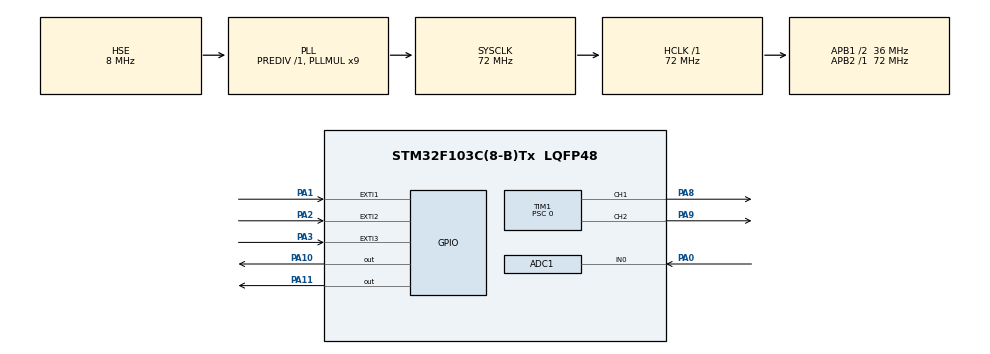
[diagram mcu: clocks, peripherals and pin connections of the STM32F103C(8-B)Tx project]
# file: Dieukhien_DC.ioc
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ADC1.Channel-0\#ChannelRegularConversion=ADC_CHANNEL_0
ADC1.NbrOfConversionFlag=1
ADC1.Rank-0\#ChannelRegularConversion=1
ADC1.SamplingTime-0\#ChannelRegularConversion=ADC_SAMPLETIME_1CYCLE_5
ADC1.master=1
Mcu.Family=STM32F1
Mcu.Name=STM32F103C(8-B)Tx
Mcu.Package=LQFP48
NVIC.EXTI1_IRQn=true\:1\:0\:true\:false\:true\:true\:true
NVIC.EXTI2_IRQn=true\:1\:0\:true\:false\:true\:true\:true
NVIC.EXTI3_IRQn=true\:1\:0\:true\:false\:true\:true\:true
NVIC.PriorityGroup=NVIC_PRIORITYGROUP_4
PA0-WKUP.Signal=ADCx_IN0
PA1.GPIO_ModeDefaultEXTI=GPIO_MODE_IT_FALLING
PA1.GPIO_PuPd=GPIO_PULLUP
PA1.Signal=GPXTI1
PA10.Signal=GPIO_Output
PA11.Signal=GPIO_Output
PA13.Mode=Serial_Wire
PA13.Signal=SYS_JTMS-SWDIO
PA14.Mode=Serial_Wire
PA14.Signal=SYS_JTCK-SWCLK
PA2.GPIO_ModeDefaultEXTI=GPIO_MODE_IT_FALLING
PA2.GPIO_PuPd=GPIO_PULLUP
PA2.Signal=GPXTI2
PA3.GPIO_ModeDefaultEXTI=GPIO_MODE_IT_FALLING
PA3.GPIO_PuPd=GPIO_PULLUP
PA3.Signal=GPXTI3
PA8.Signal=S_TIM1_CH1
PA9.Signal=S_TIM1_CH2
PD0-OSC_IN.Mode=HSE-External-Oscillator
PD0-OSC_IN.Signal=RCC_OSC_IN
PD1-OSC_OUT.Mode=HSE-External-Oscillator
PD1-OSC_OUT.Signal=RCC_OSC_OUT
ProjectManager.HeapSize=0x200
ProjectManager.StackSize=0x400
ProjectManager.TargetToolchain=MDK-ARM V5.27
RCC.ADCPresc=RCC_ADCPCLK2_DIV6
RCC.AHBFreq_Value=72000000
RCC.APB1CLKDivider=RCC_HCLK_DIV2
RCC.APB1Freq_Value=36000000
RCC.APB1TimFreq_Value=72000000
RCC.APB2Freq_Value=72000000
RCC.APB2TimFreq_Value=72000000
RCC.HCLKFreq_Value=72000000
RCC.PLLMUL=RCC_PLL_MUL9
RCC.PLLSourceVirtual=RCC_PLLSOURCE_HSE
RCC.SYSCLKFreq_VALUE=72000000
RCC.SYSCLKSource=RCC_SYSCLKSOURCE_PLLCLK
RCC.USBFreq_Value=72000000
SH.ADCx_IN0.0=ADC1_IN0,IN0
SH.S_TIM1_CH1.0=TIM1_CH1,PWM Generation1 CH1
SH.S_TIM1_CH2.0=TIM1_CH2,PWM Generation2 CH2
TIM1.Channel-PWM\ Generation1\ CH1=TIM_CHANNEL_1
TIM1.Channel-PWM\ Generation2\ CH2=TIM_CHANNEL_2
TIM1.OCMode_PWM-PWM\ Generation1\ CH1=TIM_OCMODE_PWM1
TIM1.OCMode_PWM-PWM\ Generation2\ CH2=TIM_OCMODE_PWM1
TIM1.Period=9999
TIM1.Prescaler=0
VP_TIM1_VS_ClockSourceINT.Mode=Internal
board=custom

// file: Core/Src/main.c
/* USER CODE BEGIN Header */
/**
  ******************************************************************************
  * @file           : main.c
  * @brief          : Main program body
  ******************************************************************************
  * @attention
  *
  * <h2><center>&copy; Copyright (c) 2022 STMicroelectronics.
  * All rights reserved.</center></h2>
  *
  * This software component is licensed by ST under BSD 3-Clause license,
  * the "License"; You may not use this file except in compliance with the
  * License. You may obtain a copy of the License at:
  *                        opensource.org/licenses/BSD-3-Clause
  *
  ******************************************************************************
  */
/* USER CODE END Header */
#include "main.h"

/* USER CODE BEGIN Includes */
uint16_t z = 0, y = 0;
uint16_t ispress1 = 1, ispress2, ispress3;
/* USER CODE END Includes */

ADC_HandleTypeDef hadc1;

TIM_HandleTypeDef htim1;

/* USER CODE BEGIN PV */

long map(long x, long in_min, long in_max, long out_min, long out_max) {  // ADC -> ARR -> PWM
  return (x - in_min) * (out_max - out_min) / (in_max - in_min) + out_min;
}

uint16_t Tocdo() // dung chiet ap dieu khien toc do dong co
{
	  HAL_ADC_Start(&hadc1);
		HAL_ADC_PollForConversion(&hadc1,100);
		z = HAL_ADC_GetValue(&hadc1);
		y = map(z, 0, 4034, 0, 9999);
		return y;
}

void Thuan()
{
	__HAL_TIM_SetCompare(&htim1, TIM_CHANNEL_1, Tocdo());
	HAL_GPIO_WritePin(GPIOA, GPIO_PIN_10, GPIO_PIN_RESET);
	__HAL_TIM_SetCompare(&htim1, TIM_CHANNEL_2, Tocdo());
	HAL_GPIO_WritePin(GPIOA, GPIO_PIN_11, GPIO_PIN_RESET);
}

void Nghich()
{
	__HAL_TIM_SetCompare(&htim1, TIM_CHANNEL_1, Tocdo());
	HAL_GPIO_WritePin(GPIOA, GPIO_PIN_10, GPIO_PIN_SET);
	__HAL_TIM_SetCompare(&htim1, TIM_CHANNEL_2, Tocdo());
	HAL_GPIO_WritePin(GPIOA, GPIO_PIN_11, GPIO_PIN_SET);
}

void Dung()
{
	__HAL_TIM_SetCompare(&htim1, TIM_CHANNEL_1, 0);
	HAL_GPIO_WritePin(GPIOA, GPIO_PIN_10, GPIO_PIN_RESET);
	__HAL_TIM_SetCompare(&htim1, TIM_CHANNEL_2, 0);
	HAL_GPIO_WritePin(GPIOA, GPIO_PIN_11, GPIO_PIN_RESET);
}

void HAL_GPIO_EXTI_Callback(uint16_t GPIO_Pin)
{
	if(GPIO_Pin == GPIO_PIN_1)
	{
		ispress1++;
	}
//	if(GPIO_Pin == GPIO_PIN_2)
//	{
//		ispress1 = 2;
//	}
//	if(GPIO_Pin == GPIO_PIN_3)
//	{
//		ispress1 = 3;
//	}
	if(ispress1 >= 4)
	{
		ispress1 = 1;
	}
}

//void LED1()
//{
//	if(ispress == 0)
//	{
//		__HAL_TIM_SetCompare(&htim1, TIM_CHANNEL_1, Tocdo());
//		HAL_GPIO_WritePin(GPIOA, GPIO_PIN_10, GPIO_PIN_RESET);
//	}
//
//	if(ispress == 1)
//	{
//		__HAL_TIM_SetCompare(&htim1, TIM_CHANNEL_1, 0);
//		HAL_GPIO_WritePin(GPIOA, GPIO_PIN_10, GPIO_PIN_RESET);
//	}
//
//	if(ispress == 2)
//	{
//		__HAL_TIM_SetCompare(&htim1, TIM_CHANNEL_1, Tocdo());
//		HAL_GPIO_WritePin(GPIOA, GPIO_PIN_10, GPIO_PIN_SET);
//	}
//}

//void LED2()
//{
//	if(ispress == 0)
//	{
//		__HAL_TIM_SetCompare(&htim1, TIM_CHANNEL_2, Tocdo());
//		HAL_GPIO_WritePin(GPIOA, GPIO_PIN_11, GPIO_PIN_RESET);
//	}
//
//	if(ispress == 1)
//	{
//		__HAL_TIM_SetCompare(&htim1, TIM_CHANNEL_2, 0);
//		HAL_GPIO_WritePin(GPIOA, GPIO_PIN_11, GPIO_PIN_RESET);
//	}
//
//	if(ispress == 2)
//	{
//		__HAL_TIM_SetCompare(&htim1, TIM_CHANNEL_2, Tocdo());
//		HAL_GPIO_WritePin(GPIOA, GPIO_PIN_11, GPIO_PIN_SET);
//	}
//}

/* USER CODE END PV */

void SystemClock_Config(void);
static void MX_GPIO_Init(void);
static void MX_ADC1_Init(void);
static void MX_TIM1_Init(void);

int main(void)
{

  /* MCU Configuration--------------------------------------------------------*/

  /* Reset of all peripherals, Initializes the Flash interface and the Systick. */
  HAL_Init();

  /* Configure the system clock */
  SystemClock_Config();

  /* Initialize all configured peripherals */
  MX_GPIO_Init();
  MX_ADC1_Init();
  MX_TIM1_Init();
  /* USER CODE BEGIN 2 */
   HAL_TIM_PWM_Start(&htim1,TIM_CHANNEL_1);
	 HAL_TIM_PWM_Start(&htim1,TIM_CHANNEL_2);
  /* USER CODE END 2 */

  /* Infinite loop */
  while (1)
  {
		if(ispress1 == 1)
		{
			Thuan();
		}
		if(ispress1 == 2)
		{
			Dung();
		}
		if(ispress1 == 3)
		{
			Nghich();
		}
  }
}

void SystemClock_Config(void)
{
  RCC_OscInitTypeDef RCC_OscInitStruct = {0};
  RCC_ClkInitTypeDef RCC_ClkInitStruct = {0};
  RCC_PeriphCLKInitTypeDef PeriphClkInit = {0};

  /** Initializes the RCC Oscillators according to the specified parameters
  * in the RCC_OscInitTypeDef structure.
  */
  RCC_OscInitStruct.OscillatorType = RCC_OSCILLATORTYPE_HSE;
  RCC_OscInitStruct.HSEState = RCC_HSE_ON;
  RCC_OscInitStruct.HSEPredivValue = RCC_HSE_PREDIV_DIV1;
  RCC_OscInitStruct.HSIState = RCC_HSI_ON;
  RCC_OscInitStruct.PLL.PLLState = RCC_PLL_ON;
  RCC_OscInitStruct.PLL.PLLSource = RCC_PLLSOURCE_HSE;
  RCC_OscInitStruct.PLL.PLLMUL = RCC_PLL_MUL9;
  if (HAL_RCC_OscConfig(&RCC_OscInitStruct) != HAL_OK)
  {
    Error_Handler();
  }
  /** Initializes the CPU, AHB and APB buses clocks
  */
  RCC_ClkInitStruct.ClockType = RCC_CLOCKTYPE_HCLK|RCC_CLOCKTYPE_SYSCLK
                              |RCC_CLOCKTYPE_PCLK1|RCC_CLOCKTYPE_PCLK2;
  RCC_ClkInitStruct.SYSCLKSource = RCC_SYSCLKSOURCE_PLLCLK;
  RCC_ClkInitStruct.AHBCLKDivider = RCC_SYSCLK_DIV1;
  RCC_ClkInitStruct.APB1CLKDivider = RCC_HCLK_DIV2;
  RCC_ClkInitStruct.APB2CLKDivider = RCC_HCLK_DIV1;

  if (HAL_RCC_ClockConfig(&RCC_ClkInitStruct, FLASH_LATENCY_2) != HAL_OK)
  {
    Error_Handler();
  }
  PeriphClkInit.PeriphClockSelection = RCC_PERIPHCLK_ADC;
  PeriphClkInit.AdcClockSelection = RCC_ADCPCLK2_DIV6;
  if (HAL_RCCEx_PeriphCLKConfig(&PeriphClkInit) != HAL_OK)
  {
    Error_Handler();
  }
}

static void MX_ADC1_Init(void)
{

  ADC_ChannelConfTypeDef sConfig = {0};

  /** Common config
  */
  hadc1.Instance = ADC1;
  hadc1.Init.ScanConvMode = ADC_SCAN_DISABLE;
  hadc1.Init.ContinuousConvMode = DISABLE;
  hadc1.Init.DiscontinuousConvMode = DISABLE;
  hadc1.Init.ExternalTrigConv = ADC_SOFTWARE_START;
  hadc1.Init.DataAlign = ADC_DATAALIGN_RIGHT;
  hadc1.Init.NbrOfConversion = 1;
  if (HAL_ADC_Init(&hadc1) != HAL_OK)
  {
    Error_Handler();
  }
  /** Configure Regular Channel
  */
  sConfig.Channel = ADC_CHANNEL_0;
  sConfig.Rank = ADC_REGULAR_RANK_1;
  sConfig.SamplingTime = ADC_SAMPLETIME_1CYCLE_5;
  if (HAL_ADC_ConfigChannel(&hadc1, &sConfig) != HAL_OK)
  {
    Error_Handler();
  }

}

static void MX_TIM1_Init(void)
{

  TIM_ClockConfigTypeDef sClockSourceConfig = {0};
  TIM_MasterConfigTypeDef sMasterConfig = {0};
  TIM_OC_InitTypeDef sConfigOC = {0};
  TIM_BreakDeadTimeConfigTypeDef sBreakDeadTimeConfig = {0};

  htim1.Instance = TIM1;
  htim1.Init.Prescaler = 0;
  htim1.Init.CounterMode = TIM_COUNTERMODE_UP;
  htim1.Init.Period = 9999;
  htim1.Init.ClockDivision = TIM_CLOCKDIVISION_DIV1;
  htim1.Init.RepetitionCounter = 0;
  htim1.Init.AutoReloadPreload = TIM_AUTORELOAD_PRELOAD_DISABLE;
  if (HAL_TIM_Base_Init(&htim1) != HAL_OK)
  {
    Error_Handler();
  }
  sClockSourceConfig.ClockSource = TIM_CLOCKSOURCE_INTERNAL;
  if (HAL_TIM_ConfigClockSource(&htim1, &sClockSourceConfig) != HAL_OK)
  {
    Error_Handler();
  }
  if (HAL_TIM_PWM_Init(&htim1) != HAL_OK)
  {
    Error_Handler();
  }
  sMasterConfig.MasterOutputTrigger = TIM_TRGO_RESET;
  sMasterConfig.MasterSlaveMode = TIM_MASTERSLAVEMODE_DISABLE;
  if (HAL_TIMEx_MasterConfigSynchronization(&htim1, &sMasterConfig) != HAL_OK)
  {
    Error_Handler();
  }
  sConfigOC.OCMode = TIM_OCMODE_PWM1;
  sConfigOC.Pulse = 0;
  sConfigOC.OCPolarity = TIM_OCPOLARITY_HIGH;
  sConfigOC.OCNPolarity = TIM_OCNPOLARITY_HIGH;
  sConfigOC.OCFastMode = TIM_OCFAST_DISABLE;
  sConfigOC.OCIdleState = TIM_OCIDLESTATE_RESET;
  sConfigOC.OCNIdleState = TIM_OCNIDLESTATE_RESET;
  if (HAL_TIM_PWM_ConfigChannel(&htim1, &sConfigOC, TIM_CHANNEL_1) != HAL_OK)
  {
    Error_Handler();
  }
  if (HAL_TIM_PWM_ConfigChannel(&htim1, &sConfigOC, TIM_CHANNEL_2) != HAL_OK)
  {
    Error_Handler();
  }
  sBreakDeadTimeConfig.OffStateRunMode = TIM_OSSR_DISABLE;
  sBreakDeadTimeConfig.OffStateIDLEMode = TIM_OSSI_DISABLE;
  sBreakDeadTimeConfig.LockLevel = TIM_LOCKLEVEL_OFF;
  sBreakDeadTimeConfig.DeadTime = 0;
  sBreakDeadTimeConfig.BreakState = TIM_BREAK_DISABLE;
  sBreakDeadTimeConfig.BreakPolarity = TIM_BREAKPOLARITY_HIGH;
  sBreakDeadTimeConfig.AutomaticOutput = TIM_AUTOMATICOUTPUT_DISABLE;
  if (HAL_TIMEx_ConfigBreakDeadTime(&htim1, &sBreakDeadTimeConfig) != HAL_OK)
  {
    Error_Handler();
  }
  HAL_TIM_MspPostInit(&htim1);

}

static void MX_GPIO_Init(void)
{
  GPIO_InitTypeDef GPIO_InitStruct = {0};

  /* GPIO Ports Clock Enable */
  __HAL_RCC_GPIOD_CLK_ENABLE();
  __HAL_RCC_GPIOA_CLK_ENABLE();

  /*Configure GPIO pin Output Level */
  HAL_GPIO_WritePin(GPIOA, GPIO_PIN_10|GPIO_PIN_11, GPIO_PIN_RESET);

  /*Configure GPIO pins : PA1 PA2 PA3 */
  GPIO_InitStruct.Pin = GPIO_PIN_1|GPIO_PIN_2|GPIO_PIN_3;
  GPIO_InitStruct.Mode = GPIO_MODE_IT_FALLING;
  GPIO_InitStruct.Pull = GPIO_PULLUP;
  HAL_GPIO_Init(GPIOA, &GPIO_InitStruct);

  /*Configure GPIO pins : PA10 PA11 */
  GPIO_InitStruct.Pin = GPIO_PIN_10|GPIO_PIN_11;
  GPIO_InitStruct.Mode = GPIO_MODE_OUTPUT_PP;
  GPIO_InitStruct.Pull = GPIO_NOPULL;
  GPIO_InitStruct.Speed = GPIO_SPEED_FREQ_LOW;
  HAL_GPIO_Init(GPIOA, &GPIO_InitStruct);

  /* EXTI interrupt init*/
  HAL_NVIC_SetPriority(EXTI1_IRQn, 1, 0);
  HAL_NVIC_EnableIRQ(EXTI1_IRQn);

  HAL_NVIC_SetPriority(EXTI2_IRQn, 1, 0);
  HAL_NVIC_EnableIRQ(EXTI2_IRQn);

  HAL_NVIC_SetPriority(EXTI3_IRQn, 1, 0);
  HAL_NVIC_EnableIRQ(EXTI3_IRQn);

}

void Error_Handler(void)
{
  __disable_irq();
  while (1)
  {
  }
}

/************************ (C) COPYRIGHT STMicroelectronics *****END OF FILE****/
